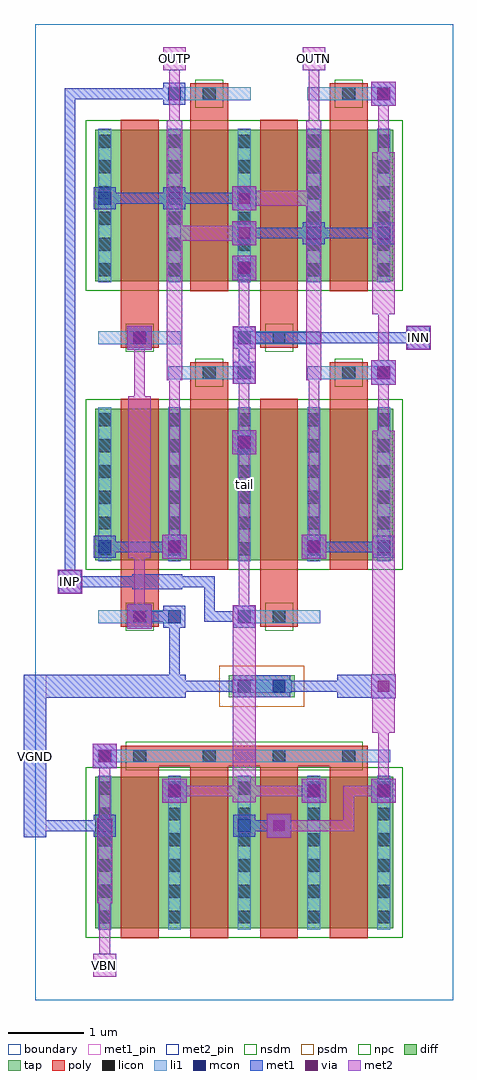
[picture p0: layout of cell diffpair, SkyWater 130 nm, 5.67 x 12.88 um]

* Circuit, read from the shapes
.subckt diffpair INN INP OUTN OUTP VBN VGND tail
XM1 tail VBN VGND VGND sky130_fd_pr__nfet_01v8 w=2 l=0.5 m=4
XM2 OUTP VGND OUTP VGND sky130_fd_pr__nfet_01v8 w=2 l=0.5 m=2
XM3 OUTN VGND OUTN VGND sky130_fd_pr__nfet_01v8 w=2 l=0.5 m=2
XM4 tail INN OUTP VGND sky130_fd_pr__nfet_01v8 w=2 l=0.5 m=2
XM5 tail INP OUTN VGND sky130_fd_pr__nfet_01v8 w=2 l=0.5 m=2
.ends

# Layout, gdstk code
import gdstk
lib = gdstk.Library(unit=1e-6, precision=1e-09)
def R(c, l, rs):  # rectangles x0, y0, x1, y1
    for r in rs: c.add(gdstk.rectangle(r[:2], r[2:], *l))
def A(c, l, x, y, w, h, nx, ny, dx, dy):  # array of equal rectangles
    R(c, l, [(x+i*dx, y+j*dy, x+i*dx+w, y+j*dy+h) for i in range(nx) for j in range(ny)])
diff = (65, 20)
tap = (65, 44)
poly = (66, 20)
licon = (66, 44)
li1 = (67, 20)
mcon = (67, 44)
met1_pin = (68, 16)
met1 = (68, 20)
via = (68, 44)
met2_pin = (69, 16)
met2 = (69, 20)
nsdm = (93, 44)
psdm = (94, 20)
npc = (95, 20)
boundary = (235, 4)

diffpair = lib.new_cell('diffpair')
R(diffpair, diff, [(0.795,0.945,4.725,2.945), (0.795,5.805,4.725,7.805), (0.795,9.485,4.725,11.485)])
R(diffpair, tap, [(2.555,3.995,3.425,4.285)])
A(diffpair, poly, 1.13, 0.815, 0.5, 2.405, 4, 1, 0.92, 0)
R(diffpair, poly, [(1.13,3.085,4.39,3.355), (1.13,4.925,1.63,5.195), (2.97,4.925,3.47,5.195), (1.13,5.06,1.63,7.935), (2.97,5.06,3.47,7.935), (2.05,5.675,2.55,8.28), (3.89,5.675,4.39,8.28), (2.05,8.145,2.55,8.415), (3.89,8.145,4.39,8.415), (1.13,8.605,1.63,8.875), (2.97,8.605,3.47,8.875), (1.13,8.74,1.63,11.615), (2.97,8.74,3.47,11.615), (2.05,9.355,2.55,11.96), (3.89,9.355,4.39,11.96), (2.05,11.825,2.55,12.095), (3.89,11.825,4.39,12.095)])
A(diffpair, licon, 0.835, 1.01, 0.17, 0.17, 5, 6, 0.92, 0.34)
A(diffpair, licon, 1.295, 3.135, 0.17, 0.17, 4, 1, 0.92, 0)
A(diffpair, licon, 0.835, 5.87, 0.17, 0.17, 5, 6, 0.92, 0.34)
A(diffpair, licon, 0.835, 9.55, 0.17, 0.17, 5, 6, 0.92, 0.34)
R(diffpair, licon, [(2.675,4.055,2.845,4.225), (3.135,4.055,3.305,4.225), (1.295,4.975,1.465,5.145), (3.135,4.975,3.305,5.145), (2.215,8.195,2.385,8.365), (4.055,8.195,4.225,8.365), (1.295,8.655,1.465,8.825), (3.135,8.655,3.305,8.825), (2.215,11.875,2.385,12.045), (4.055,11.875,4.225,12.045)])
A(diffpair, li1, 0.835, 0.93, 0.17, 2.03, 5, 2, 0.92, 4.86)
A(diffpair, li1, 0.835, 9.47, 0.17, 2.03, 5, 1, 0.92, 0)
R(diffpair, li1, [(0.835,3.135,4.685,3.305), (2.595,4.055,3.385,4.225), (0.835,4.975,1.925,5.145), (2.675,4.975,3.765,5.145), (1.755,8.195,2.845,8.365), (3.595,8.195,4.685,8.365), (0.835,8.655,1.925,8.825), (2.675,8.655,3.765,8.825), (1.755,11.875,2.845,12.045), (3.595,11.875,4.685,12.045)])
A(diffpair, mcon, 4.515, 8.195, 0.17, 0.17, 1, 3, 0, 1.84)
R(diffpair, mcon, [(0.835,2.215,1.005,2.385), (2.675,2.215,2.845,2.385), (1.755,2.675,1.925,2.845), (3.595,2.675,3.765,2.845), (4.515,2.675,4.685,2.845), (0.835,3.135,1.005,3.305), (2.675,4.055,2.845,4.225), (3.135,4.055,3.305,4.225), (1.755,4.975,1.925,5.145), (2.675,4.975,2.845,5.145), (0.835,5.895,1.005,6.065), (1.755,5.895,1.925,6.065), (3.595,5.895,3.765,6.065), (4.515,5.895,4.685,6.065), (2.675,7.275,2.845,7.445), (2.675,8.195,2.845,8.365), (1.295,8.655,1.465,8.825), (2.675,8.655,2.845,8.825), (2.675,9.575,2.845,9.745), (3.595,10.035,3.765,10.205), (0.835,10.495,1.005,10.665), (1.755,10.495,1.925,10.665), (1.755,11.875,1.925,12.045)])
R(diffpair, met1_pin, [(-0.15,2.15,0.15,4.29)])
A(diffpair, met1, 4.455, 8.135, 0.29, 0.29, 1, 3, 0, 1.84)
A(diffpair, met1, 2.6, 9.5, 0.32, 0.32, 1, 3, 0, 0.46)
R(diffpair, met1, [(3.06,2.14,3.38,2.46), (-0.15,2.15,0.15,4.29), (0.775,2.155,1.065,2.445), (2.615,2.155,2.905,2.445), (-0.07,2.23,0.99,2.37), (2.69,2.23,3.29,2.37), (1.68,2.6,2,2.92), (3.52,2.6,3.84,2.92), (4.44,2.6,4.76,2.92), (1.695,2.615,1.985,2.905), (3.535,2.615,3.825,2.905), (4.455,2.615,4.745,2.905), (0.76,3.06,1.08,3.38), (0.775,3.075,1.065,3.365), (4.44,3.98,4.76,4.3), (-0.15,3.99,1.99,4.29), (3.99,3.99,4.75,4.29), (2.615,3.995,3.365,4.285), (1.77,4.07,2.83,4.21), (1.77,4.07,1.91,5.13), (2.69,4.07,4.21,4.21), (2.69,4.07,2.83,4.21), (1.22,4.9,1.54,5.22), (1.695,4.915,1.985,5.205), (2.615,4.915,2.905,5.205), (1.31,4.99,1.91,5.13), (2.23,4.99,2.83,5.13), (2.23,4.99,2.37,5.59), (0.3,5.36,0.62,5.68), (1.28,5.42,1.94,5.62), (0.39,5.45,1.45,5.59), (0.39,5.45,0.53,12.03), (1.77,5.45,2.37,5.59), (1.68,5.82,2,6.14), (3.52,5.82,3.84,6.14), (0.775,5.835,1.065,6.125), (1.695,5.835,1.985,6.125), (3.535,5.835,3.825,6.125), (4.455,5.835,4.745,6.125), (0.85,5.91,1.91,6.05), (3.61,5.91,4.67,6.05), (2.6,7.2,2.92,7.52), (2.615,7.215,2.905,7.505), (4.44,8.12,4.76,8.44), (2.615,8.135,2.905,8.425), (2.69,8.21,2.83,8.81), (1.22,8.58,1.54,8.9), (4.9,8.58,5.22,8.9), (1.235,8.595,1.525,8.885), (2.615,8.595,2.905,8.885), (2.69,8.67,5.13,8.81), (2.615,9.515,2.905,9.805), (3.535,9.975,3.825,10.265), (2.69,10.05,3.75,10.19), (3.61,10.05,4.67,10.19), (0.775,10.435,1.065,10.725), (1.695,10.435,1.985,10.725), (0.85,10.51,1.91,10.65), (1.77,10.51,2.83,10.65), (4.44,11.8,4.76,12.12), (1.695,11.815,1.985,12.105), (0.39,11.89,1.91,12.03)])
A(diffpair, via, 2.685, 9.585, 0.15, 0.15, 1, 3, 0, 0.46)
R(diffpair, via, [(3.145,2.225,3.295,2.375), (1.765,2.685,1.915,2.835), (3.605,2.685,3.755,2.835), (4.525,2.685,4.675,2.835), (0.845,3.145,0.995,3.295), (4.525,4.065,4.675,4.215), (1.305,4.985,1.455,5.135), (0.385,5.445,0.535,5.595), (1.765,5.905,1.915,6.055), (3.605,5.905,3.755,6.055), (2.685,7.285,2.835,7.435), (4.525,8.205,4.675,8.355), (1.305,8.665,1.455,8.815), (4.985,8.665,5.135,8.815), (4.525,11.885,4.675,12.035)])
R(diffpair, met2_pin, [(0.77,0.31,1.07,0.61), (0.31,5.37,0.61,5.67), (4.91,8.59,5.21,8.89), (1.69,12.27,1.99,12.57), (3.53,12.27,3.83,12.57)])
A(diffpair, met2, 2.6, 9.5, 0.32, 0.32, 1, 3, 0, 0.46)
R(diffpair, met2, [(0.77,0.31,1.07,0.61), (0.85,0.39,0.99,1.45), (0.85,0.39,0.99,0.53), (0.82,1.28,1.02,2.4), (3.06,2.14,3.38,2.46), (0.85,2.23,0.99,3.29), (3.15,2.23,4.21,2.37), (4.07,2.23,4.21,2.83), (1.68,2.6,2,2.92), (3.52,2.6,3.84,2.92), (4.44,2.6,4.76,2.92), (2.61,2.61,2.91,5.21), (1.77,2.69,2.83,2.83), (2.69,2.69,3.75,2.83), (4.07,2.69,4.67,2.83), (4.53,2.69,4.67,3.75), (0.76,3.06,1.08,3.38), (4.45,3.53,4.75,4.29), (4.44,3.98,4.76,4.3), (4.45,3.99,4.75,7.51), (1.22,4.9,1.54,5.22), (1.31,4.99,1.45,6.05), (2.69,4.99,2.83,7.43), (0.3,5.36,0.62,5.68), (0.31,5.37,0.61,5.67), (0.39,5.45,0.53,5.59), (1.68,5.82,2,6.14), (3.52,5.82,3.84,6.14), (1.23,5.83,1.53,7.97), (1.77,5.91,1.91,8.35), (3.61,5.91,3.75,8.35), (2.6,7.2,2.92,7.52), (2.69,7.29,2.83,8.35), (4.53,7.29,4.67,8.35), (1.31,7.75,1.45,8.81), (4.44,8.12,4.76,8.44), (2.61,8.13,2.91,8.89), (1.74,8.18,1.94,11.6), (3.58,8.18,3.78,11.6), (4.53,8.21,4.67,9.27), (1.22,8.58,1.54,8.9), (4.9,8.58,5.22,8.9), (4.91,8.59,5.21,8.89), (2.69,8.67,2.83,9.73), (4.99,8.67,5.13,8.81), (4.45,9.05,4.75,11.19), (1.74,10.02,2.86,10.22), (2.66,10.48,3.78,10.68), (4.53,10.97,4.67,12.03), (1.77,11.43,1.91,12.49), (3.61,11.43,3.75,12.49), (4.44,11.8,4.76,12.12), (1.69,12.27,1.99,12.57), (3.53,12.27,3.83,12.57), (1.77,12.35,1.91,12.49), (3.61,12.35,3.75,12.49)])
R(diffpair, nsdm, [(0.67,0.82,4.85,3.07), (0.67,5.68,4.85,7.93), (0.67,9.36,4.85,11.61)])
R(diffpair, psdm, [(2.43,3.87,3.55,4.41)])
R(diffpair, npc, [(1.195,3.035,4.325,3.405), (1.195,4.875,1.565,5.245), (3.035,4.875,3.405,5.245), (2.115,8.095,2.485,8.465), (3.955,8.095,4.325,8.465), (1.195,8.555,1.565,8.925), (3.035,8.555,3.405,8.925), (2.115,11.775,2.485,12.145), (3.955,11.775,4.325,12.145)])
R(diffpair, boundary, [(0,0,5.52,12.88)])
diffpair.add(gdstk.Label('tail', (2.76,6.805), layer=67, texttype=5))
diffpair.add(gdstk.Label('VGND', (0,3.22), layer=68, texttype=5))
diffpair.add(gdstk.Label('INP', (0.46,5.52), layer=69, texttype=5))
diffpair.add(gdstk.Label('INN', (5.06,8.74), layer=69, texttype=5))
diffpair.add(gdstk.Label('VBN', (0.92,0.46), layer=69, texttype=5))
diffpair.add(gdstk.Label('OUTP', (1.84,12.42), layer=69, texttype=5))
diffpair.add(gdstk.Label('OUTN', (3.68,12.42), layer=69, texttype=5))
diffpair.add(gdstk.Label('VGND', (0,3.22), layer=68, texttype=16))
diffpair.add(gdstk.Label('INP', (0.46,5.52), layer=69, texttype=16))
diffpair.add(gdstk.Label('INN', (5.06,8.74), layer=69, texttype=16))
diffpair.add(gdstk.Label('VBN', (0.92,0.46), layer=69, texttype=16))
diffpair.add(gdstk.Label('OUTP', (1.84,12.42), layer=69, texttype=16))
diffpair.add(gdstk.Label('OUTN', (3.68,12.42), layer=69, texttype=16))

lib.write_gds('diffpair.gds')
